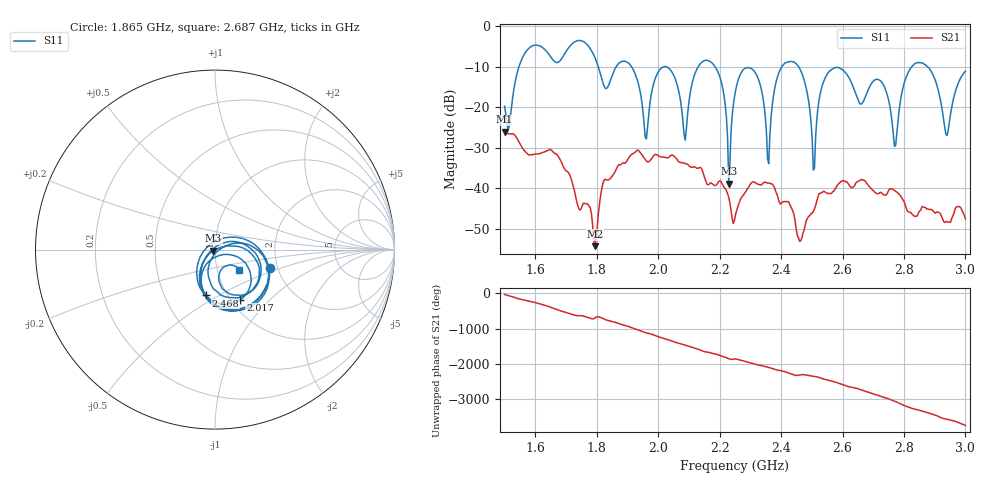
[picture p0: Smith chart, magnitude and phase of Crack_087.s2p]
# HZ S RI R 50
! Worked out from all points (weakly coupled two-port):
!   404 points, 1.5 GHz to 3 GHz, reference 50 ohm
!   highest |S21| = -26.03 dB at 1.5 GHz (marker M1); lowest = -54.2 dB at 1.794 GHz (marker M2)
!   lowest |S11| = -38.8 dB at 2.23 GHz (marker M3), VSWR 1.02, Z = 49 - j0.612 ohm
!   |S11| at or under -10 dB: 1.913 GHz to 2.131 GHz (218 MHz wide, 10.8 % of centre); 2.185 GHz to 2.403 GHz (218.1 MHz wide, 9.51 % of centre); 2.457 GHz to 2.826 GHz (369.4 MHz wide, 14 % of centre) (the widest 3 of 6)
!   S12 and S22 are empty: the file has one direction only
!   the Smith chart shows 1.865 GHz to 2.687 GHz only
!   S11 on the Smith chart (normalised r, x): 1.865 GHz: 1.81, -0.42; 2.017 GHz: 1.11, -0.69; 2.468 GHz: 0.80, -0.44; 2.687 GHz: 1.27, -0.29
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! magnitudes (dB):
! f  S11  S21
! 1.5 GHz  -19.8  -26.0
! 1.753 GHz  -3.7  -44.2
! 1.794 GHz  -7.8  -54.2
! 1.865 GHz  -9.9  -35.0
! 1.962 GHz  -27.8  -33.2
! 2.002 GHz  -11.1  -32.1
! 2.017 GHz  -10.1  -32.3
! 2.088 GHz  -28.1  -33.9
! 2.181 GHz  -9.6  -39.2
! 2.23 GHz  -38.8  -42.1
! 2.252 GHz  -16.0  -46.4
! 2.315 GHz  -11.4  -38.6
! 2.36 GHz  -33.9  -38.7
! 2.397 GHz  -10.8  -43.8
! 2.468 GHz  -11.7  -52.2
! 2.501 GHz  -27.8  -46.1
! 2.561 GHz  -11.0  -41.3
! 2.687 GHz  -15.1  -39.6
! 2.751 GHz  -18.4  -40.4
! 2.862 GHz  -9.2  -44.6
! 2.94 GHz  -27.0  -48.2
! 3 GHz  -11.2  -47.5
